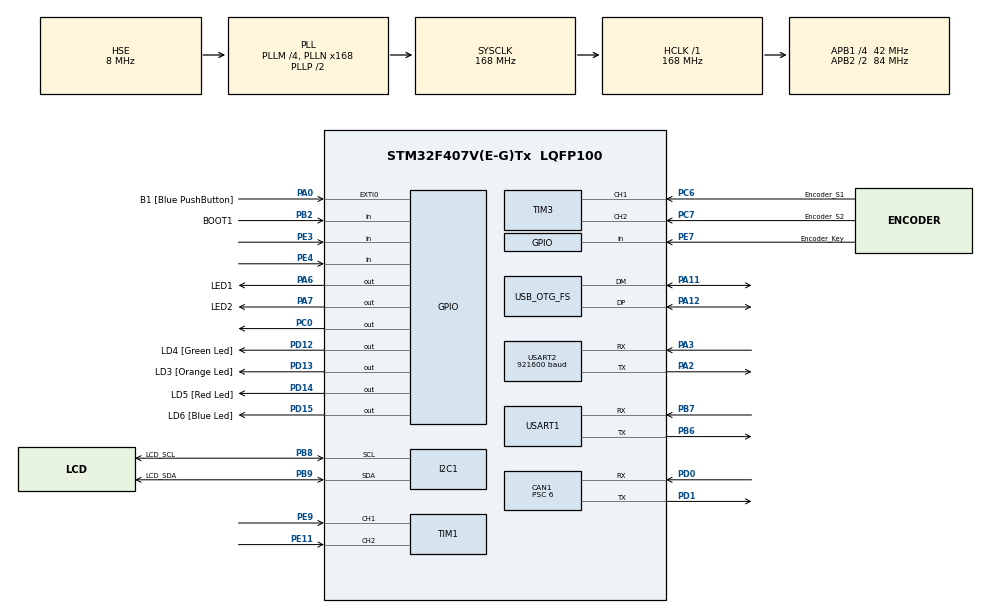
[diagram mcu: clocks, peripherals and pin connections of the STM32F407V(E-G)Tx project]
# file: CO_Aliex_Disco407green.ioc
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ADC1.Channel-0\#ChannelRegularConversion=ADC_CHANNEL_TEMPSENSOR
ADC1.ExternalTrigConv=ADC_EXTERNALTRIGCONV_T8_TRGO
ADC1.ExternalTrigConvEdge=ADC_EXTERNALTRIGCONVEDGE_FALLING
ADC1.NbrOfConversionFlag=1
ADC1.Rank-0\#ChannelRegularConversion=1
ADC1.SamplingTime-0\#ChannelRegularConversion=ADC_SAMPLETIME_3CYCLES
ADC1.master=1
CAN1.BS1=CAN_BS1_11TQ
CAN1.BS2=CAN_BS2_2TQ
CAN1.CalculateBaudRate=500000
CAN1.CalculateTimeBit=2000
CAN1.CalculateTimeQuantum=142.85714285714286
CAN1.Prescaler=6
Dma.ADC1.5.Direction=DMA_PERIPH_TO_MEMORY
Dma.ADC1.5.FIFOMode=DMA_FIFOMODE_DISABLE
Dma.ADC1.5.Instance=DMA2_Stream4
Dma.ADC1.5.MemDataAlignment=DMA_MDATAALIGN_HALFWORD
Dma.ADC1.5.MemInc=DMA_MINC_ENABLE
Dma.ADC1.5.Mode=DMA_NORMAL
Dma.ADC1.5.PeriphDataAlignment=DMA_PDATAALIGN_HALFWORD
Dma.ADC1.5.PeriphInc=DMA_PINC_DISABLE
Dma.ADC1.5.Priority=DMA_PRIORITY_LOW
Dma.MEMTOMEM.2.Direction=DMA_MEMORY_TO_MEMORY
Dma.MEMTOMEM.2.FIFOMode=DMA_FIFOMODE_ENABLE
Dma.MEMTOMEM.2.FIFOThreshold=DMA_FIFO_THRESHOLD_FULL
Dma.MEMTOMEM.2.Instance=DMA2_Stream0
Dma.MEMTOMEM.2.MemBurst=DMA_MBURST_SINGLE
Dma.MEMTOMEM.2.MemDataAlignment=DMA_MDATAALIGN_BYTE
Dma.MEMTOMEM.2.MemInc=DMA_MINC_ENABLE
Dma.MEMTOMEM.2.Mode=DMA_NORMAL
Dma.MEMTOMEM.2.PeriphBurst=DMA_PBURST_SINGLE
Dma.MEMTOMEM.2.PeriphDataAlignment=DMA_PDATAALIGN_BYTE
Dma.MEMTOMEM.2.PeriphInc=DMA_PINC_ENABLE
Dma.MEMTOMEM.2.Priority=DMA_PRIORITY_VERY_HIGH
Dma.MEMTOMEM.3.Direction=DMA_MEMORY_TO_MEMORY
Dma.MEMTOMEM.3.FIFOMode=DMA_FIFOMODE_ENABLE
Dma.MEMTOMEM.3.FIFOThreshold=DMA_FIFO_THRESHOLD_FULL
Dma.MEMTOMEM.3.Instance=DMA2_Stream5
Dma.MEMTOMEM.3.MemBurst=DMA_MBURST_SINGLE
Dma.MEMTOMEM.3.MemDataAlignment=DMA_MDATAALIGN_HALFWORD
Dma.MEMTOMEM.3.MemInc=DMA_MINC_ENABLE
Dma.MEMTOMEM.3.Mode=DMA_NORMAL
Dma.MEMTOMEM.3.PeriphBurst=DMA_PBURST_SINGLE
Dma.MEMTOMEM.3.PeriphDataAlignment=DMA_PDATAALIGN_HALFWORD
Dma.MEMTOMEM.3.PeriphInc=DMA_PINC_ENABLE
Dma.MEMTOMEM.3.Priority=DMA_PRIORITY_HIGH
Dma.MEMTOMEM.4.Direction=DMA_MEMORY_TO_MEMORY
Dma.MEMTOMEM.4.FIFOMode=DMA_FIFOMODE_ENABLE
Dma.MEMTOMEM.4.FIFOThreshold=DMA_FIFO_THRESHOLD_FULL
Dma.MEMTOMEM.4.Instance=DMA2_Stream3
Dma.MEMTOMEM.4.MemBurst=DMA_MBURST_SINGLE
Dma.MEMTOMEM.4.MemDataAlignment=DMA_MDATAALIGN_WORD
Dma.MEMTOMEM.4.MemInc=DMA_MINC_ENABLE
Dma.MEMTOMEM.4.Mode=DMA_NORMAL
Dma.MEMTOMEM.4.PeriphBurst=DMA_PBURST_SINGLE
Dma.MEMTOMEM.4.PeriphDataAlignment=DMA_PDATAALIGN_WORD
Dma.MEMTOMEM.4.PeriphInc=DMA_PINC_ENABLE
Dma.MEMTOMEM.4.Priority=DMA_PRIORITY_MEDIUM
Dma.Request0=USART2_TX
Dma.Request1=USART2_RX
Dma.Request2=MEMTOMEM
Dma.Request3=MEMTOMEM
Dma.Request4=MEMTOMEM
Dma.Request5=ADC1
Dma.Request6=TIM8_UP
Dma.Request7=TIM3_CH4/UP
Dma.TIM3_CH4/UP.7.Direction=DMA_PERIPH_TO_MEMORY
Dma.TIM3_CH4/UP.7.FIFOMode=DMA_FIFOMODE_DISABLE
Dma.TIM3_CH4/UP.7.Instance=DMA1_Stream2
Dma.TIM3_CH4/UP.7.MemDataAlignment=DMA_MDATAALIGN_HALFWORD
Dma.TIM3_CH4/UP.7.MemInc=DMA_MINC_ENABLE
Dma.TIM3_CH4/UP.7.Mode=DMA_NORMAL
Dma.TIM3_CH4/UP.7.PeriphDataAlignment=DMA_PDATAALIGN_HALFWORD
Dma.TIM3_CH4/UP.7.PeriphInc=DMA_PINC_DISABLE
Dma.TIM3_CH4/UP.7.Priority=DMA_PRIORITY_LOW
Dma.TIM8_UP.6.Direction=DMA_PERIPH_TO_MEMORY
Dma.TIM8_UP.6.FIFOMode=DMA_FIFOMODE_DISABLE
Dma.TIM8_UP.6.Instance=DMA2_Stream1
Dma.TIM8_UP.6.MemDataAlignment=DMA_MDATAALIGN_HALFWORD
Dma.TIM8_UP.6.MemInc=DMA_MINC_ENABLE
Dma.TIM8_UP.6.Mode=DMA_NORMAL
Dma.TIM8_UP.6.PeriphDataAlignment=DMA_PDATAALIGN_HALFWORD
Dma.TIM8_UP.6.PeriphInc=DMA_PINC_DISABLE
Dma.TIM8_UP.6.Priority=DMA_PRIORITY_LOW
Dma.USART2_RX.1.Direction=DMA_PERIPH_TO_MEMORY
Dma.USART2_RX.1.FIFOMode=DMA_FIFOMODE_DISABLE
Dma.USART2_RX.1.Instance=DMA1_Stream5
Dma.USART2_RX.1.MemDataAlignment=DMA_MDATAALIGN_BYTE
Dma.USART2_RX.1.MemInc=DMA_MINC_ENABLE
Dma.USART2_RX.1.Mode=DMA_NORMAL
Dma.USART2_RX.1.PeriphDataAlignment=DMA_PDATAALIGN_BYTE
Dma.USART2_RX.1.PeriphInc=DMA_PINC_DISABLE
Dma.USART2_RX.1.Priority=DMA_PRIORITY_LOW
Dma.USART2_TX.0.Direction=DMA_MEMORY_TO_PERIPH
Dma.USART2_TX.0.FIFOMode=DMA_FIFOMODE_DISABLE
Dma.USART2_TX.0.Instance=DMA1_Stream6
Dma.USART2_TX.0.MemDataAlignment=DMA_MDATAALIGN_BYTE
Dma.USART2_TX.0.MemInc=DMA_MINC_ENABLE
Dma.USART2_TX.0.Mode=DMA_NORMAL
Dma.USART2_TX.0.PeriphDataAlignment=DMA_PDATAALIGN_BYTE
Dma.USART2_TX.0.PeriphInc=DMA_PINC_DISABLE
Dma.USART2_TX.0.Priority=DMA_PRIORITY_LOW
I2C1.I2C_Mode=I2C_Fast
Mcu.Family=STM32F4
Mcu.Name=STM32F407V(E-G)Tx
Mcu.Package=LQFP100
Mcu.UserConstants=LCD_I2C,$$_I2C1_IP_HANDLE_$$;Tim_3_Encoder,$$_TIM3_IP_HANDLE_$$;Tim_1_Encoder,$$_TIM1_IP_HANDLE_$$
NVIC.ADC_IRQn=true\:0\:0\:false\:false\:true\:true\:true\:true
NVIC.DMA1_Stream2_IRQn=true\:0\:0\:false\:false\:true\:false\:true\:true
NVIC.DMA1_Stream5_IRQn=true\:0\:0\:false\:false\:true\:false\:true\:true
NVIC.DMA1_Stream6_IRQn=true\:0\:0\:false\:false\:true\:false\:true\:true
NVIC.DMA2_Stream0_IRQn=true\:0\:0\:false\:false\:true\:false\:true\:true
NVIC.DMA2_Stream1_IRQn=true\:0\:0\:false\:false\:true\:false\:true\:true
NVIC.DMA2_Stream4_IRQn=true\:0\:0\:false\:false\:true\:false\:true\:true
NVIC.I2C1_ER_IRQn=true\:0\:0\:false\:false\:true\:true\:true\:true
NVIC.I2C1_EV_IRQn=true\:0\:0\:false\:false\:true\:true\:true\:true
NVIC.OTG_FS_IRQn=true\:0\:0\:false\:false\:true\:false\:true\:true
NVIC.PriorityGroup=NVIC_PRIORITYGROUP_0
NVIC.RTC_Alarm_IRQn=true\:0\:0\:false\:false\:true\:true\:true\:true
NVIC.TIM3_IRQn=true\:0\:0\:false\:false\:true\:true\:true\:true
NVIC.TIM4_IRQn=true\:0\:0\:false\:false\:true\:true\:true\:true
NVIC.TIM6_DAC_IRQn=true\:0\:0\:false\:false\:true\:true\:true\:true
NVIC.TIM8_UP_TIM13_IRQn=true\:0\:0\:false\:false\:true\:true\:true\:true
NVIC.USART2_IRQn=true\:0\:0\:false\:false\:true\:true\:true\:true
PA0-WKUP.GPIO_Label=B1 [Blue PushButton]
PA0-WKUP.GPIO_ModeDefaultEXTI=GPIO_MODE_IT_FALLING
PA0-WKUP.GPIO_PuPd=GPIO_PULLUP
PA0-WKUP.Signal=GPXTI0
PA11.Mode=Device_Only
PA11.Signal=USB_OTG_FS_DM
PA12.Mode=Device_Only
PA12.Signal=USB_OTG_FS_DP
PA13.GPIO_Label=SWDIO
PA13.Mode=Serial_Wire
PA13.Signal=SYS_JTMS-SWDIO
PA14.GPIO_Label=SWCLK
PA14.Mode=Serial_Wire
PA14.Signal=SYS_JTCK-SWCLK
PA2.Mode=Asynchronous
PA2.Signal=USART2_TX
PA3.Mode=Asynchronous
PA3.Signal=USART2_RX
PA6.GPIO_Label=LED1
PA6.GPIO_PuPd=GPIO_PULLUP
PA6.PinState=GPIO_PIN_SET
PA6.Signal=GPIO_Output
PA7.GPIO_Label=LED2
PA7.GPIO_PuPd=GPIO_PULLUP
PA7.PinState=GPIO_PIN_SET
PA7.Signal=GPIO_Output
PB2.GPIO_Label=BOOT1
PB2.GPIO_Mode=GPIO_MODE_INPUT
PB2.GPIO_PuPd=GPIO_NOPULL
PB2.Signal=GPIO_Input
PB3.GPIO_Label=SWO
PB3.Signal=SYS_JTDO-SWO
PB6.Mode=Asynchronous
PB6.Signal=USART1_TX
PB7.Mode=Asynchronous
PB7.Signal=USART1_RX
PB8.GPIO_Label=LCD_SCL
PB8.Mode=I2C
PB8.Signal=I2C1_SCL
PB9.GPIO_Label=LCD_SDA
PB9.Mode=I2C
PB9.Signal=I2C1_SDA
PC0.PinState=GPIO_PIN_SET
PC0.Signal=GPIO_Output
PC14-OSC32_IN.GPIO_Label=PC14-OSC32_IN
PC14-OSC32_IN.Mode=LSE-External-Oscillator
PC14-OSC32_IN.Signal=RCC_OSC32_IN
PC15-OSC32_OUT.GPIO_Label=PC15-OSC32_OUT
PC15-OSC32_OUT.Mode=LSE-External-Oscillator
PC15-OSC32_OUT.Signal=RCC_OSC32_OUT
PC6.GPIO_Label=Encoder_S1
PC6.GPIO_PuPd=GPIO_PULLUP
PC6.Signal=S_TIM3_CH1
PC7.GPIO_Label=Encoder_S2
PC7.GPIO_PuPd=GPIO_PULLUP
PC7.Signal=S_TIM3_CH2
PD0.Mode=CAN_Activate
PD0.Signal=CAN1_RX
PD1.Mode=CAN_Activate
PD1.Signal=CAN1_TX
PD12.GPIO_Label=LD4 [Green Led]
PD12.GPIO_PuPd=GPIO_NOPULL
PD12.GPIO_Speed=GPIO_SPEED_FREQ_LOW
PD12.Signal=GPIO_Output
PD13.GPIO_Label=LD3 [Orange Led]
PD13.GPIO_PuPd=GPIO_NOPULL
PD13.GPIO_Speed=GPIO_SPEED_FREQ_LOW
PD13.Signal=GPIO_Output
PD14.GPIO_Label=LD5 [Red Led]
PD14.GPIO_PuPd=GPIO_NOPULL
PD14.GPIO_Speed=GPIO_SPEED_FREQ_LOW
PD14.Signal=GPIO_Output
PD15.GPIO_Label=LD6 [Blue Led]
PD15.GPIO_PuPd=GPIO_NOPULL
PD15.GPIO_Speed=GPIO_SPEED_FREQ_LOW
PD15.Signal=GPIO_Output
PE11.GPIO_PuPd=GPIO_PULLUP
PE11.GPIO_Speed=GPIO_SPEED_FREQ_LOW
PE11.Signal=S_TIM1_CH2
PE3.GPIO_PuPd=GPIO_PULLUP
PE3.Signal=GPIO_Input
PE4.GPIO_PuPd=GPIO_PULLUP
PE4.Signal=GPIO_Input
PE7.GPIO_Label=Encoder_Key
PE7.GPIO_PuPd=GPIO_PULLUP
PE7.Signal=GPIO_Input
PE9.GPIO_PuPd=GPIO_PULLUP
PE9.GPIO_Speed=GPIO_SPEED_FREQ_LOW
PE9.Signal=S_TIM1_CH1
PH0-OSC_IN.GPIO_Label=PH0-OSC_IN
PH0-OSC_IN.Mode=HSE-External-Oscillator
PH0-OSC_IN.Signal=RCC_OSC_IN
PH1-OSC_OUT.GPIO_Label=PH1-OSC_OUT
PH1-OSC_OUT.Mode=HSE-External-Oscillator
PH1-OSC_OUT.Signal=RCC_OSC_OUT
ProjectManager.HeapSize=0x800
ProjectManager.StackSize=0x800
ProjectManager.TargetToolchain=STM32CubeIDE
RCC.48MHZClocksFreq_Value=48000000
RCC.AHBFreq_Value=168000000
RCC.APB1CLKDivider=RCC_HCLK_DIV4
RCC.APB1Freq_Value=42000000
RCC.APB1TimFreq_Value=84000000
RCC.APB2CLKDivider=RCC_HCLK_DIV2
RCC.APB2Freq_Value=84000000
RCC.APB2TimFreq_Value=168000000
RCC.CortexFreq_Value=168000000
RCC.HCLKFreq_Value=168000000
RCC.HSE_VALUE=8000000
RCC.HSI_VALUE=16000000
RCC.PLLI2SN=50
RCC.PLLM=4
RCC.PLLN=168
RCC.PLLQ=7
RCC.RCC_RTC_Clock_Source=RCC_RTCCLKSOURCE_LSE
RCC.RCC_RTC_Clock_SourceVirtual=RCC_RTCCLKSOURCE_HSE_DIV25
RCC.RCC_RTC_Clock_Source_FROM_HSE=RCC_RTCCLKSOURCE_HSE_DIV25
RCC.SYSCLKFreq_VALUE=168000000
RCC.SYSCLKSource=RCC_SYSCLKSOURCE_PLLCLK
RCC.VCOOutputFreq_Value=336000000
RTC.Alarm=RTC_ALARM_A
RTC.Alarm_B=RTC_ALARM_B
RTC.Date=21
RTC.Format=RTC_FORMAT_BIN
RTC.Hours=17
RTC.Minutes=30
RTC.Month=RTC_MONTH_JANUARY
RTC.WeekDay=RTC_WEEKDAY_THURSDAY
RTC.Year=25
SH.S_TIM1_CH1.0=TIM1_CH1,Encoder_Interface
SH.S_TIM1_CH2.0=TIM1_CH2,Encoder_Interface
SH.S_TIM3_CH1.0=TIM3_CH1,Encoder_Interface
SH.S_TIM3_CH2.0=TIM3_CH2,Encoder_Interface
TIM14.Period=999
TIM14.Prescaler=167
TIM4.Period=999
TIM4.Prescaler=83
TIM4.TIM_MasterOutputTrigger=TIM_TRGO_UPDATE
TIM5.Channel-Output\ Compare2\ CH2=TIM_CHANNEL_2
TIM6.Period=9999
TIM6.Prescaler=167
TIM6.TIM_MasterOutputTrigger=TIM_TRGO_UPDATE
TIM8.Period=39999
TIM8.Prescaler=41
TIM8.TIM_MasterOutputTrigger=TIM_TRGO_UPDATE
USART1.VirtualMode=VM_ASYNC
USART2.BaudRate=921600
USART2.StopBits=STOPBITS_2
USART2.VirtualMode=VM_ASYNC
USB_DEVICE.APP_RX_DATA_SIZE-CDC_FS=2048
USB_DEVICE.CLASS_NAME_FS=CDC
USB_DEVICE.VirtualMode-CDC_FS=Cdc
USB_DEVICE.VirtualModeFS=Cdc_FS
USB_OTG_FS.VirtualMode=Device_Only
VP_ADC1_TempSens_Input.Mode=IN-TempSens
VP_ADC1_Vbat_Input.Mode=IN-Vbat
VP_ADC1_Vref_Input.Mode=IN-Vrefint
VP_RTC_VS_RTC_Activate.Mode=RTC_Enabled
VP_RTC_VS_RTC_Alarm_A_Intern.Mode=Alarm A
VP_RTC_VS_RTC_Alarm_B_Intern.Mode=Alarm B
VP_RTC_VS_RTC_Calendar.Mode=RTC_Calendar
VP_TIM14_VS_ClockSourceINT.Mode=Enable_Timer
VP_TIM2_VS_ClockSourceINT.Mode=Internal
VP_TIM4_VS_ClockSourceINT.Mode=Internal
VP_TIM5_VS_ClockSourceINT.Mode=Internal
VP_TIM6_VS_ClockSourceINT.Mode=Enable_Timer
VP_TIM8_VS_ClockSourceINT.Mode=Internal
VP_USB_DEVICE_VS_USB_DEVICE_CDC_FS.Mode=CDC_FS
board=STM32F407G-DISC1

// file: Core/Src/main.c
/* USER CODE BEGIN Header */
/**
  ******************************************************************************
  * @file           : main.c
  * @brief          : Main program body
  ******************************************************************************
  * @attention
  *
  * Copyright (c) 2024 STMicroelectronics.
  * All rights reserved.
  *
  * This software is licensed under terms that can be found in the LICENSE file
  * in the root directory of this software component.
  * If no LICENSE file comes with this software, it is provided AS-IS.
  *
  *
  *			Aliexpress_Disco407green__EvolutionBoard
  *
  *			NodeID = 0x3A
  *
  *
  ******************************************************************************
  */
/* USER CODE END Header */
#include "main.h"
#include "adc.h"
#include "can.h"
#include "dma.h"
#include "i2c.h"
#include "rtc.h"
#include "tim.h"
#include "usart.h"
#include "usb_device.h"
#include "gpio.h"

/* USER CODE BEGIN Includes */
#include "CO_app_STM32.h"
#include "301/CO_SDOclient.h"
#include "CANopen.h"
#include "OD.h"
#include "CO_PDO.h"

#include "format_out.h"
#include "SDO_utils.h"
#include "lcd.h"
#include "Encoder.h"

/* USER CODE END Includes */

/* USER CODE BEGIN PV */

RTC_DateTypeDef DateToUpdate;//  = {02, 01, 21, 25};  //; ={0,0,0};   //21jan2025
RTC_TimeTypeDef sTime;// = {19, 24, 0,0,0,0,0};; // ={0,0,0};      ///19h16min
//					    0,//uint8_t Hours; Max_Data=12 if the RTC_HourFormat_12; Max_Data=23 if the RTC_HourFormat_24
//						0,//uint8_t Minutes; Max_Data = 59
//						0,//uint8_t Seconds; Max_Data = 59 */
//						0,//uint8_t TimeFormat;Specifies the RTC AM/PM Time.
//						0,//uint32_t SecondFraction;parameter corresponds to a time unit range between [0-1] Second with [1 Sec / SecondFraction +1] granularity
//						0,//uint32_t DayLightSaving;  This interface is deprecated.
//						0//uint32_t StoreOperation;

uint8_t Tx_Array[16]={0x51,0x62,0x73,0x84,0x55,0x46,0x87,0x18,0x29,0x10,0x11,0x12,0x13,0x14,0x15,0x33};
uint8_t Rx_Array[16]={0};
uint32_t Array_32u[16]={0};
uint8_t Array_8u[16]={0x54,0x34,0x21,0xea,0xf3,0x7a,0xd4,0x46};
char Message_to_Terminal[128]={};
char Message_to_Terminal_1[128]={};
char Message_to_Terminal_2[128]={};
char Message_to_Terminal_3[128]={};
uint8_t Array_from_Terminal[128]={0};
uint8_t Length_of_Message;
uint8_t Length_of_Ext_Var=0;
uint8_t Local_Count=0;
uint32_t Duration_of_the_CO_process;
uint64_t Count_of_while1=0;
float ChipTemperature;

CANopenNodeSTM32    canOpenNodeSTM32;
CO_SDO_abortCode_t  Code_return_SDO;
CAN_TxHeaderTypeDef Tx_Header;
uint32_t            TxMailbox;
uint32_t            tmp32u_1   = 0x1e1f1a1b;
uint32_t            tmp32u_0   = 0x0e0f0a0b;
uint64_t            tmp64u_0   = 0x0e1f1a1b56789a;
uint64_t            tmp64u_1   = 0x0e1f1a1b56789a;
uint32_t            Ticks;
uint32_t            Ticks_1;
uint32_t            Ticks_2;

char String_H[]={"String_for_Test_UART_"};
char String_L[]={"String_for_Test_UART_"};
char buff[16]={8,8,8,8,8,8,8,8,8,8,8,8,8,8,8,8};
//const	char XPOMOC[] = "XPOMOC_CANOpen";
//const	char WC[] = "LSS_Master";
char String_LCD[32];
char String_2_UART[128];
uint16_t L_str;
int16_t currCounter=0 ;
int32_t prevCounter =0;
CO_ReturnError_t Err_return;

uint8_t Menu_step=0;
const uint16_t Datum[64]={0,0,
						  0x30,0x31, 0x30,0x32, 0x30,0x33, 0x30,0x34, 0x30,0x35, 0x30,0x36, 0x30,0x37, 0x30,0x38, 0x30,0x39, 0x31,0x30,
					      0x31,0x31, 0x31,0x32, 0x31,0x33, 0x31,0x34, 0x31,0x35, 0x31,0x36, 0x31,0x37, 0x31,0x38, 0x31,0x39, 0x32,0x30,
					      0x32,0x31, 0x32,0x32, 0x32,0x33, 0x32,0x34, 0x32,0x35, 0x32,0x36, 0x32,0x37, 0x32,0x38, 0x32,0x39, 0x33,0x30,
					      0x33,0x31
					     };

uint8_t Node_ID_Read=0xff;
uint32_t Data_u32;
/* USER CODE END PV */

void SystemClock_Config(void);
/* USER CODE BEGIN PFP */
void CAN_interface_Test(void);
void UART_interface_Test(void);
void Board_Name_to_Terminal(void);
void CO_Init_Return_State(uint16_t Returned_Code);
void SDO_abortCode_ASCII_to_Terminal(void);
CO_SDO_abortCode_t SDO_Read_Write_Read(void);
void TPDO_send(uint32_t Period_ms);

void SDO_Test();

int16_t Encoder_to_LCD(void);
Encoder_Status encoderStatus;
/* USER CODE END PFP */

/* USER CODE BEGIN 0 */
/* Timer interrupt function executes every 1 ms */
void
HAL_TIM_PeriodElapsedCallback(TIM_HandleTypeDef* htim)
{

    if (htim == canopenNodeSTM32->timerHandle)
    		{
    		canopen_app_interrupt();
    		}

}

/* USER CODE END 0 */

int main(void)
{

  /* MCU Configuration--------------------------------------------------------*/

  /* Reset of all peripherals, Initializes the Flash interface and the Systick. */
  HAL_Init();

  /* Configure the system clock */
  SystemClock_Config();

  /* Initialize all configured peripherals */
  MX_GPIO_Init();
  MX_DMA_Init();
  MX_TIM14_Init();
  MX_USART1_UART_Init();
  MX_USB_DEVICE_Init();
  MX_USART2_UART_Init();
  MX_TIM4_Init();
  MX_CAN1_Init();
  MX_RTC_Init();
  MX_TIM6_Init();
  MX_ADC1_Init();
  MX_TIM8_Init();
  MX_I2C1_Init();
  MX_TIM3_Init();
  MX_TIM2_Init();
  MX_TIM5_Init();
  MX_TIM1_Init();
  /* USER CODE BEGIN 2 */

  //	HAL_RTC_SetTime(&hrtc, &sTime,        RTC_FORMAT_BIN);
  //	HAL_RTC_SetDate(&hrtc, &DateToUpdate, RTC_FORMAT_BIN);
  HAL_RTC_GetDate(&hrtc, &DateToUpdate, RTC_FORMAT_BIN);
  HAL_RTC_GetTime(&hrtc, &sTime,        RTC_FORMAT_BIN);

  Encoder_Config();  // configure the encoders timer
  Encoder_Init();    // start the encoders timer
  LCD_ini();
  // Logo_to_1602LCD();
  Datum_to_1602LCD();
  //GPIO_Blink_Test(GPIOA, GPIO_PIN_7|GPIO_PIN_6, 25, 33); 						// for_STM32F4XX_Ali_pcb
   GPIO_Blink_Test(GPIOD, GPIO_PIN_12|GPIO_PIN_13|GPIO_PIN_14|GPIO_PIN_15, 25, 33);// blink_at_Discovery_EVB
  //UART_interface_Test(); //while(1){;}
  //CAN_interface_Test();
  HAL_TIM_Base_Start(&htim8);
  HAL_TIM_Base_Start_IT(&htim4);
  HAL_UART_Receive_DMA(&huart2, Array_from_Terminal, sizeof Array_from_Terminal );
  //HAL_Delay(1500);
  Board_Name_to_Terminal();
  OD_PERSIST_COMM.x1018_identity.serialNumber = HAL_GetUIDw0();
  Message_2_UART_u32(
		  	  	  	  "\n\r OD_PERSIST_COMM.x1018_identity.serialNumber",
					  HAL_GetUIDw0()
					  );

    /* CANHandle : Pass in the CAN Handle to this function and it wil be used for all CAN Communications.
     *             It can be FDCan or CAN and CANOpenSTM32 Driver will take of care of handling that
     *
     * HWInitFunction : Pass in the function that initialize the CAN peripheral, usually MX_CAN_Init
     *
     * timerHandle : Pass in the timer that is going to be used for generating 1ms interrupt for tmrThread function,
     *               please note that CANOpenSTM32 Library will override HAL_TIM_PeriodElapsedCallback function,
     *               if you also need this function in your codes, please take required steps
     *
     * desiredNodeID : This is the Node ID that you ask the CANOpen stack to assign to your device, although it might not always
     *                 be the final NodeID, after calling canopen_app_init()
     *                 you should check ActiveNodeID of CANopenNodeSTM32 structure for assigned Node ID.
     *
     * baudrate: This is the baudrate you've set in your CubeMX Configuration
     *
     */
   canOpenNodeSTM32.CANHandle = &hcan1;
   canOpenNodeSTM32.HWInitFunction = MX_CAN1_Init;
   canOpenNodeSTM32.timerHandle = &htim4;
   canOpenNodeSTM32.desiredNodeID = CO_Aliex_Disco407green;//	0x3A
   //canOpenNodeSTM32.desiredNodeID = Node_Unconfigured;
   canOpenNodeSTM32.baudrate = 125*4;
   uint16_t Ret_value = canopen_app_init(&canOpenNodeSTM32);
   CO_Init_Return_State(Ret_value );

   	 //SDO_Read_Write_Read();

  /* USER CODE END 2 */

  /* Infinite loop */
  /* USER CODE BEGIN WHILE */

HAL_Delay(1);
canopen_app_process();
HAL_GPIO_WritePin(GPIOD, GPIO_PIN_12, GPIO_PIN_RESET);//Green
OD_PERSIST_COMM.x6000_ALiex_Disco_VAR32_6000=0;

#if Make_Read_SDO
#endif//Make_Read_SDO
 Local_Count=0;
Ticks = HAL_GetTick();
Ticks_2 = HAL_GetTick();

DWT->CTRL |= 1 ; // Enable_the_Counter_of_Core_circles

//**********************************************************************************************
Ticks_2=HAL_GetTick();
do
{
HAL_GPIO_WritePin(GPIOD, GPIO_PIN_12, !canOpenNodeSTM32.outStatusLEDGreen);
HAL_GPIO_WritePin(GPIOD, GPIO_PIN_14, !canOpenNodeSTM32.outStatusLEDRed  );
canopen_app_process();
}while (HAL_GetTick() - Ticks_2<500);

#if 1
uint32_t Delta_T[4]={0};/////Measurement_of_duration_canopen_app_process();
#endif

//**********************************************************************************************
Local_Count=0;
Ticks_2=HAL_GetTick();
 while (1)		/// 	while (HAL_GetTick() - Ticks_2<4123) //   	while (HAL_GetTick() - Ticks_2<5123)	///
	{
			switch (Local_Count)
				{
				case 0:
					OD_PERSIST_COMM.x6000_ALiex_Disco_VAR32_6000++;
					OD_PERSIST_COMM.x6001_ALiex_Disco_VAR32_6001++;
					CO_TPDOsendRequest(&canOpenNodeSTM32.canOpenStack->TPDO[0] );
//																			//HAL_GPIO_WritePin(GPIOD, GPIO_PIN_13,GPIO_PIN_SET );
//					DWT->CYCCNT = 0; // reset the counter
//					canopen_app_process();
//					Delta_T[0]= DWT->CYCCNT;//// 2581circles * 6ns = 15.5ms// Delta_T[0] = 0x00000A15
//																			//HAL_GPIO_WritePin(GPIOD, GPIO_PIN_13,GPIO_PIN_RESET );
					Local_Count=1;
					break;

				case 1:
					OD_PERSIST_COMM.x6002_ALiex_Disco_VAR32_6002++;
 					OD_PERSIST_COMM.x6003_ALiex_Disco_VAR32_6003++;
					CO_TPDOsendRequest(&canOpenNodeSTM32.canOpenStack->TPDO[1] );

//																			//HAL_GPIO_WritePin(GPIOD, GPIO_PIN_13,GPIO_PIN_SET );
//					DWT->CYCCNT = 0; // reset the counter
//					canopen_app_process();
//					Delta_T[1]= DWT->CYCCNT;//// 2571 circles * 6ns = 15.5ms ///Delta_T[2] = 0x00000A0B
//																			//HAL_GPIO_WritePin(GPIOD, GPIO_PIN_13,GPIO_PIN_RESET );
					Local_Count=2;
					break;

				case 2:
 					OD_PERSIST_COMM.x6004_ALiex_Disco_VAR32_6004++;
 					OD_PERSIST_COMM.x6005_ALiex_Disco_VAR32_6005++;
					CO_TPDOsendRequest(&canOpenNodeSTM32.canOpenStack->TPDO[2] );

																			//HAL_GPIO_WritePin(GPIOD, GPIO_PIN_13,GPIO_PIN_SET );
//					DWT->CYCCNT = 0; // reset the counter
//					canopen_app_process();
//					Delta_T[2]= DWT->CYCCNT;//// 2571 circles * 6ns = 15.5ms ///Delta_T[2] = 0x00000A0B 16295 ns
//																			//HAL_GPIO_WritePin(GPIOD, GPIO_PIN_13,GPIO_PIN_RESET );
					Local_Count=3;
					break;

				case 3:
 					OD_PERSIST_COMM.x6006_ALiex_Disco_VAR32_6006++;
 					OD_PERSIST_COMM.x6007_ALiex_Disco_VAR32_6007++;
					CO_TPDOsendRequest(&canOpenNodeSTM32.canOpenStack->TPDO[3] );

//																			//HAL_GPIO_WritePin(GPIOD, GPIO_PIN_13,GPIO_PIN_SET );
//					DWT->CYCCNT = 0; // reset the counter
//					canopen_app_process();
//					Delta_T[3]= DWT->CYCCNT;//// 2573circles * 6ns = 15.5ms// Delta_T[3] = 0x00000A0D 16295 ns
//																			//HAL_GPIO_WritePin(GPIOD, GPIO_PIN_13,GPIO_PIN_RESET );
					Local_Count=0;
					break;

				default:
					Local_Count=0;
					canopen_app_process();
					break;
		}///switch (Local_Count)

		HAL_GPIO_WritePin(GPIOD, GPIO_PIN_12, !canOpenNodeSTM32.outStatusLEDGreen);
		HAL_GPIO_WritePin(GPIOD, GPIO_PIN_14, !canOpenNodeSTM32.outStatusLEDRed  );
		// HAL_GPIO_WritePin(GPIOA, GPIO_PIN_6, canOpenNodeSTM32.outStatusLEDGreen);
		// HAL_GPIO_WritePin(GPIOA, GPIO_PIN_7, canOpenNodeSTM32.outStatusLEDRed  );//yellow

//		HAL_GPIO_TogglePin(GPIOD, GPIO_PIN_13 );
//		DWT->CYCCNT = 0; // reset the counter
		canopen_app_process();
//		Duration_of_the_CO_process= DWT->CYCCNT;//// 2575circles * 6.33ns = 18ms
		HAL_Delay(4);
//		DWT->CYCCNT = 0; // reset the counter
//		while( (DWT->CYCCNT / 168) < 2999 );

		Encoder_to_LCD();
		RTC_update_and_Terminal(1999);

	}///while (HAL_GetTick() - Ticks<4123)

#if 1
///Measurement_of_duration_canopen_app_process_Results
uint16_t LLL = sprintf(
					Message_to_Terminal,
					"\n\r\n\r Duration_of_the_CO_process*6nc = %d\n\r",
					(uint16_t)Duration_of_the_CO_process*6
					);

 LLL = LLL + sprintf(
					Message_to_Terminal+LLL,
					"\n\r Delta_T[0] = 0x%04X%04X -> %d ns\n\r",
					(uint16_t)(Delta_T[0] >> 16 ),
					(uint16_t)(Delta_T[0] & 0x0FFFF ),
					(uint16_t)(((float)Delta_T[0]*6.3333) )
					);

 LLL = LLL + sprintf(
					Message_to_Terminal+LLL,
					"\n\r Delta_T[0] = 0x%04X%04X -> %d ns\n\r",
					(uint16_t)(Delta_T[1] >> 16 ),
					(uint16_t)(Delta_T[1] & 0x0FFFF ),
					(uint16_t)(((float)Delta_T[1]*6.3333) )
					);

 LLL = LLL + sprintf(
					Message_to_Terminal+LLL,
					"\n\r Delta_T[0] = 0x%04X%04X -> %d ns\n\r",
					(uint16_t)(Delta_T[2] >> 16 ),
					(uint16_t)(Delta_T[2] & 0x0FFFF ),
					(uint16_t)(((float)Delta_T[2]*6.3333) )
					);

 LLL = LLL + sprintf(
					Message_to_Terminal+LLL,
					"\n\r Delta_T[0] = 0x%04X%04X -> %d ns\n\r\n\r\n\r\n\r\n\r\n\r\n\r",
					(uint16_t)(Delta_T[3] >> 16 ),
					(uint16_t)(Delta_T[3] & 0x0FFFF ),
					(uint16_t)(((float)Delta_T[3]*6.3333) )
					);

while(TerminalInterface.gState != HAL_UART_STATE_READY){;}
HAL_UART_Transmit_IT( &TerminalInterface, (uint8_t*)(Message_to_Terminal), LLL);
//while(TerminalInterface.gState != HAL_UART_STATE_READY){;}
#endif///Measurement_of_duration_canopen_app_process();

//**********************************************************************************************

while (2)
{
Encoder_to_LCD();
RTC_update_and_Terminal(1999);
HAL_GPIO_WritePin(GPIOD, GPIO_PIN_12, !canOpenNodeSTM32.outStatusLEDGreen);
HAL_GPIO_WritePin(GPIOD, GPIO_PIN_14, !canOpenNodeSTM32.outStatusLEDRed  );
canopen_app_process();

    /* USER CODE END WHILE */

}
}

void SystemClock_Config(void)
{
  RCC_OscInitTypeDef RCC_OscInitStruct = {0};
  RCC_ClkInitTypeDef RCC_ClkInitStruct = {0};

  /** Configure the main internal regulator output voltage
  */
  __HAL_RCC_PWR_CLK_ENABLE();
  __HAL_PWR_VOLTAGESCALING_CONFIG(PWR_REGULATOR_VOLTAGE_SCALE1);

  /** Initializes the RCC Oscillators according to the specified parameters
  * in the RCC_OscInitTypeDef structure.
  */
  RCC_OscInitStruct.OscillatorType = RCC_OSCILLATORTYPE_HSE|RCC_OSCILLATORTYPE_LSE;
  RCC_OscInitStruct.HSEState = RCC_HSE_ON;
  RCC_OscInitStruct.LSEState = RCC_LSE_ON;
  RCC_OscInitStruct.PLL.PLLState = RCC_PLL_ON;
  RCC_OscInitStruct.PLL.PLLSource = RCC_PLLSOURCE_HSE;
  RCC_OscInitStruct.PLL.PLLM = 4;
  RCC_OscInitStruct.PLL.PLLN = 168;
  RCC_OscInitStruct.PLL.PLLP = RCC_PLLP_DIV2;
  RCC_OscInitStruct.PLL.PLLQ = 7;
  if (HAL_RCC_OscConfig(&RCC_OscInitStruct) != HAL_OK)
  {
    Error_Handler();
  }

  /** Initializes the CPU, AHB and APB buses clocks
  */
  RCC_ClkInitStruct.ClockType = RCC_CLOCKTYPE_HCLK|RCC_CLOCKTYPE_SYSCLK
                              |RCC_CLOCKTYPE_PCLK1|RCC_CLOCKTYPE_PCLK2;
  RCC_ClkInitStruct.SYSCLKSource = RCC_SYSCLKSOURCE_PLLCLK;
  RCC_ClkInitStruct.AHBCLKDivider = RCC_SYSCLK_DIV1;
  RCC_ClkInitStruct.APB1CLKDivider = RCC_HCLK_DIV4;
  RCC_ClkInitStruct.APB2CLKDivider = RCC_HCLK_DIV2;

  if (HAL_RCC_ClockConfig(&RCC_ClkInitStruct, FLASH_LATENCY_5) != HAL_OK)
  {
    Error_Handler();
  }
}

/* USER CODE BEGIN 4 */

//////////////////////////////////////////////////////////////////////////////////////////////////////////////

void CAN_interface_Test(void)
{

 Tx_Header.IDE    = CAN_ID_STD;
 Tx_Header.ExtId  = 0;
 Tx_Header.DLC    = 8;
 Tx_Header.StdId  = 0x7EC;
 Tx_Header.RTR    = CAN_RTR_DATA;
 HAL_CAN_Start(&hcan1);  HAL_Delay(1500);

 if(HAL_CAN_AddTxMessage( &hcan1,
   		               &Tx_Header,
							Tx_Array, &TxMailbox )==HAL_OK
 	 )
	  {  /* Wait transmission complete */
	  //while(HAL_CAN_GetTxMailboxesFreeLevel(&hcan1) != 3) {}
		  for(uint8_t cnt=0;cnt<22;cnt++)
		  {
		   HAL_GPIO_TogglePin(LED2_GPIO_Port, LED2_Pin);//LED2_Pin//yellow
		   HAL_Delay(46);
		  }
	  }
}

//////////////////////////////////////////////

void UART_interface_Test(void)
{
	// Test_Terminal__ASCII
	  Length_of_Message = sprintf( Message_to_Terminal,
			  	  	  	  	  	  	  "Rx_Array[0]=0x%x, Rx_Array[1]= 0x%x, Rx_Array[2]= 0x%x, Rx_Array[3]= 0x%x \n\r",
									   Rx_Array[0],Rx_Array[1],Rx_Array[2],Rx_Array[3]
								 );
	  TerminalInterface.gState = HAL_UART_STATE_READY;
	  HAL_UART_Transmit_DMA( &TerminalInterface, (uint8_t*)Message_to_Terminal, Length_of_Message);

//    Test_Terminal__HEX
//
//	  HAL_Delay(500);
//	  Local_Count = sizeof String_L;
//	  String_L[Local_Count-1] = 0x0d;
//	  TerminalInterface.gState = HAL_DMA_STATE_READY;
//	  HAL_UART_Transmit_DMA( &TerminalInterface, (uint8_t*)(String_L), Local_Count);

}

//////////////////////////////////////////////////
void Board_Name_to_Terminal(void)
{
	const char Message_0[]={"   ******************************************\n\r"};
//	const char Message_1[]={"*  Upper Blackboard  STM32F4XX___Ali     *\n\r"};
//	const char Message_2[]={"*  Lower Blackboard  STM32F4XX___Ali     *\n\r"};
//	const char Message_3[]={"*  STM32F4DISCOVERY Green_board China    *\n\r"};
	const char Message_3[]={"*  STM32F4DISCO Greenboard_STLINK_4323   *\n\r"};
//	const char Message_3[]={"*  STM32F4DISCO Greenboard_STLINK_2734   *\n\r"};
//	const char Message_4[]={"*  STM32F4DISCOVERY Blue_board Original  *\n\r"};
//	const char Message_5[]={"*       *\n\r"};
	char Array_for_Messages[128]={};
	uint16_t Msg_Length;
//	uint32_t Chip_ID_96bit[4]={};
//	uint16_t  *pChip_ID_96bit =(uint16_t*)Chip_ID_96bit ;

//	Chip_ID_96bit[0] = HAL_GetUIDw0();
//	Chip_ID_96bit[1] = HAL_GetUIDw1();
//	Chip_ID_96bit[2] = HAL_GetUIDw2();

	Msg_Length = sizeof(Message_0);
	while(TerminalInterface.gState != HAL_UART_STATE_READY){;}
	HAL_UART_Transmit_DMA( &TerminalInterface, (uint8_t*)Message_0, Msg_Length);
////	HAL_UART_Transmit( &TerminalInterface, (uint8_t*)Message_0, Msg_Length,1);

	Msg_Length = sizeof(Message_3);
	while(TerminalInterface.gState != HAL_UART_STATE_READY){;}
	HAL_UART_Transmit_DMA( &TerminalInterface, (uint8_t*)Message_3, Msg_Length);
////	HAL_UART_Transmit( &TerminalInterface, (uint8_t*)Message_3, Msg_Length,1);

	while(TerminalInterface.gState != HAL_UART_STATE_READY){;}
	Msg_Length = sprintf( Array_for_Messages,
			  	  	  	  "*  SystemClock = %d MHz                 *\n\r",
						  (uint16_t)(HAL_RCC_GetSysClockFreq()/1000000)
						);
	HAL_UART_Transmit_DMA( &TerminalInterface, (uint8_t*)Array_for_Messages, Msg_Length);
////	HAL_UART_Transmit( &TerminalInterface, (uint8_t*)Array_for_Messages, Msg_Length,1);

	while(TerminalInterface.gState != HAL_UART_STATE_READY){;}
	Msg_Length = sprintf( Array_for_Messages,
			  	  	  	  "   *  Unical_ID %X%X%X%X%X%X        *\n\r",
						  (uint16_t)(HAL_GetUIDw2()>>16),(uint16_t)(HAL_GetUIDw2() & 0x0000FFFF),
						  (uint16_t)(HAL_GetUIDw1()>>16),(uint16_t)(HAL_GetUIDw1() & 0x0000FFFF),
						  (uint16_t)(HAL_GetUIDw0()>>16),(uint16_t)(HAL_GetUIDw0() & 0x0000FFFF)

						);
	HAL_UART_Transmit_DMA( &TerminalInterface, (uint8_t*)Array_for_Messages, Msg_Length);

	while(TerminalInterface.gState != HAL_UART_STATE_READY){;}
	Msg_Length = sprintf( Array_for_Messages,
			  	  	  	  "   *  Device identifier %X%X                *\n\r",
						  (uint16_t)(HAL_GetDEVID()>>16), (uint16_t)(HAL_GetDEVID() & 0x0000FFFF)
						);
	HAL_UART_Transmit_DMA( &TerminalInterface, (uint8_t*)Array_for_Messages, Msg_Length);

	while(TerminalInterface.gState != HAL_UART_STATE_READY){;}
	Msg_Length = sprintf( Array_for_Messages,
			  	  	  	  "   *  Device revision identifier %X%X      *\n\r",
						  (uint16_t)( HAL_GetREVID()>>16 ),
						  (uint16_t)( HAL_GetREVID() & 0x0000FFFF )
						);
	HAL_UART_Transmit_DMA( &TerminalInterface, (uint8_t*)Array_for_Messages, Msg_Length);

	Msg_Length = sizeof(Message_0);
	while(TerminalInterface.gState != HAL_UART_STATE_READY){;}
	HAL_UART_Transmit_DMA( &TerminalInterface, (uint8_t*)Message_0, Msg_Length);

	while(TerminalInterface.gState != HAL_UART_STATE_READY){;}
	Array_for_Messages[0]=0x0a;		Array_for_Messages[1]=0x0d;
	Array_for_Messages[2]=0x0a;		Array_for_Messages[3]=0x0d;
	Array_for_Messages[4]=0x0a;		Array_for_Messages[5]=0x0d;
	HAL_UART_Transmit_DMA( &TerminalInterface, (uint8_t*)(Array_for_Messages), 6);
	while(TerminalInterface.gState != HAL_UART_STATE_READY){;}
}

/////////////////////////////////////////////////////////////////////

  int16_t Encoder_to_LCD(void)
  {
		encoderStatus = Encoder_Get_Status();

		  switch(encoderStatus) {
		    case Incremented:
		    	currCounter++;
				//HAL_GPIO_WritePin(LED1_GPIO_Port, LED1_Pin, GPIO_PIN_RESET);
				HAL_GPIO_WritePin(LD3_GPIO_Port, LD3_Pin, GPIO_PIN_SET  );
				sprintf(String_LCD,"%04d",currCounter);
				LCD_SetPos(11, 0);
				HAL_Delay(10);
				LCD_String(String_LCD);HAL_Delay(10);

				L_str=	snprintf(buff, sizeof(buff), "\n\r %04d ", currCounter);
				while(TerminalInterface.gState != HAL_UART_STATE_READY ){;}
				HAL_UART_Transmit_IT(&TerminalInterface, (uint8_t*)buff, L_str);
				//HAL_GPIO_WritePin(LED1_GPIO_Port, LED1_Pin, GPIO_PIN_SET  );
				HAL_GPIO_WritePin(LD3_GPIO_Port, LD3_Pin, GPIO_PIN_RESET  );
		      break;
		    case Decremented:
		    	currCounter--;
				//HAL_GPIO_WritePin(LED2_GPIO_Port, LED2_Pin, GPIO_PIN_RESET);
				HAL_GPIO_WritePin(LD4_GPIO_Port, LD4_Pin, GPIO_PIN_SET  );
				sprintf(String_LCD,"%04d",currCounter);
				LCD_SetPos(11,0);HAL_Delay(10);

				LCD_String(String_LCD);HAL_Delay(10);

				L_str=	snprintf(buff, sizeof(buff), "\n\r %04d ", currCounter);
				while(TerminalInterface.gState != HAL_UART_STATE_READY ){;}
				HAL_UART_Transmit_IT(&TerminalInterface, (uint8_t*)buff, L_str);
				//HAL_GPIO_WritePin(LED2_GPIO_Port, LED2_Pin, GPIO_PIN_SET  );
				HAL_GPIO_WritePin(LD4_GPIO_Port, LD4_Pin, GPIO_PIN_RESET  );
		      break;

		    case Neutral:

		    	break;
		    default: break;
		  }///switch(encoderStatus)

		    	if(HAL_GetTick()-Ticks_1 >1500){
											//Ticks_1=HAL_GetTick();
											//Get_Time_to_LCD(0,1);
		    								}

		    	// RTC_update_and_Terminal(1999);
		    	return (currCounter);
  }

  ///////////////////////////////////////////////////////////////////////////////

  void CO_Init_Return_State(uint16_t Returned_Code)
  {
  	uint16_t Lngth_of_Message;
  	char Msg_2_Terminal[400];
  	uint16_t Code;
  	Code = Returned_Code;
  	Lngth_of_Message = sprintf( Msg_2_Terminal,"Returned_Code = 0x%x, \n\r\n\r",Returned_Code);
  	HAL_UART_Transmit_DMA( &TerminalInterface, (uint8_t*)Msg_2_Terminal, Lngth_of_Message);
 switch(Code)
 {
 case 0:
	  HAL_UART_Transmit_DMA( &TerminalInterface, (uint8_t*)"  canopen_app_init OK !\n\r\n\r",
													 sizeof"  canopen_app_init OK !\n\r\n\r");break;
 case 1:
  	  HAL_UART_Transmit_DMA( &TerminalInterface, (uint8_t*)"Error: Can't allocate memory!\n\r\n\r",
  			  	  	  	  	  	  	  	  	  	  	 sizeof"Error: Can't allocate memory!\n\r\n\r");break;
 case 2:
 	  HAL_UART_Transmit_DMA( &TerminalInterface, (uint8_t*)"Error: Storage %d ! \n\r\n\r",
 			  	  	  	  	  	  	  	  	  	  	 sizeof"Error: Storage %d ! \n\r\n\r");break;
default:
	  HAL_UART_Transmit_DMA( &TerminalInterface, (uint8_t*)"UNKNOWN code =0x%x \n\r",
			  	  	  	  	  	  	  	  	  	  	 sizeof"UNKNOWN code =0x%x \n\r");break;
 } //switch

while(TerminalInterface.gState != HAL_UART_STATE_READY){;}
HAL_Delay(50);
	Lngth_of_Message = sprintf( Msg_2_Terminal,
		  	  	  "  *  CANopenNodeSTM32 canOpenNodeSTM32;      *\n\r"
		  	  	  "  *  .CANHandle = &hcan1;                    *\n\r"
		  	  	  "  *  .HWInitFunction = MX_CAN1_Init          *\n\r"
		  	  	  "  *  .timerHandle = &htim4                   *\n\r"
		  	  	  "  *  .baudrate = 500kbps                     *\n\r"
	  	  	  	  "  *  .desiredNodeID = 0x%02X;                *\n\r\n\r"
	  	  	  	  "  *  .activeNodeID = 0x%02X;                *\n\r\n\r"
		  	  	  "  *  canopen_app_init(&canOpenNodeSTM32);* \n\r\n\r\n\r\n\r\n\r\n\r\n\r\n\r",
  	  	  	  	  	  	  	  canOpenNodeSTM32.desiredNodeID,
  	  	  	  	  	  	  	  canOpenNodeSTM32.activeNodeID
			   	   	   	   	   );
		HAL_UART_Transmit_DMA( &TerminalInterface, (uint8_t*)Msg_2_Terminal, Lngth_of_Message);
		while(TerminalInterface.gState != HAL_UART_STATE_READY){;}
		HAL_Delay(50);

}// void CO_Init_Return_State

  void TPDO_send(uint32_t Period_ms) {
		  if(HAL_GetTick() - Ticks>Period_ms)
		  {
			Ticks = HAL_GetTick();
			CO_TPDOsendRequest(&canOpenNodeSTM32.canOpenStack->TPDO[0] );
		  }
   }

  ///////////////////////////////////////////////////////////////////////////////
  void SDO_abortCode_ASCII_to_Terminal(void)
  {
  char Message_2_Terminal_0[128];
  uint16_t Message_Length;
  while(TerminalInterface.gState != HAL_UART_STATE_READY){;}
  Message_Length = SDO_abortCode_to_String(Code_return_SDO,  Message_2_Terminal_0);
  HAL_UART_Transmit_DMA( &TerminalInterface, (uint8_t*)Message_2_Terminal_0, Message_Length);
  while(TerminalInterface.gState != HAL_UART_STATE_READY){;}
  }

  ///////////////////////////////////////////////////////////////////////////////

  CO_SDO_abortCode_t SDO_Read_Write_Read(void)
  {

  	Code_return_SDO = read_SDO (
  			    canOpenNodeSTM32.canOpenStack->SDOclient,
  			  	0x3d,										//remote desiredNodeID Upper_F407XX
  				0x6004,										//Index_of_OD_variable_at_remote_NodeID_6004_u64
  				0x00,										//Sub_Index_of_OD_variable
  				Rx_Array,									//Save_Received_Data_to Local_Array
  				8,											//Number_of_Bytes_to_read
  				(size_t*)&Length_of_Ext_Var ); HAL_Delay(100);

  #if 1

  		while(TerminalInterface.gState != HAL_UART_STATE_READY){;}
  		Length_of_Message = sprintf( Message_to_Terminal,
  		  	  	                     "\r EXECUTED read_SDO(...); for the first time\n\r "
                    "by canOpenNodeSTM32.canOpenStack->SDOclient\n\r");

  		HAL_UART_Transmit_DMA( &TerminalInterface, (uint8_t*)Message_to_Terminal, Length_of_Message);HAL_Delay(10);

  		while(TerminalInterface.gState != HAL_UART_STATE_READY){;}
  		Length_of_Message = sprintf( Message_to_Terminal_3,
                  "from RemoteNode=0x3d OD_Index=0x6004_u64 SubIndex=0x0\n\r and Save to \n\r"
  				"Rx_Array={0x%X,0x%X,0x%X,0x%X,0x%X,0x%X,0x%X,0x%X} \n\r",
  				Rx_Array[0],Rx_Array[1],Rx_Array[2],Rx_Array[3],
  				Rx_Array[4],Rx_Array[5],Rx_Array[6],Rx_Array[7]);
  		HAL_UART_Transmit_DMA( &TerminalInterface, (uint8_t*)Message_to_Terminal_3, Length_of_Message);
  		while(TerminalInterface.gState != HAL_UART_STATE_READY){;}
  		SDO_abortCode_ASCII_to_Terminal();		HAL_Delay(10);
  #endif

  #if 2
  		while(TerminalInterface.gState != HAL_UART_STATE_READY){;}
  		Length_of_Message = sprintf( Message_to_Terminal_2, "   \n\r Run write_SDO(.....);\n\r"
  														  " write_SDO  by "
                    	  	  	  	  	  	  	  	  	  	  "canOpenNodeSTM32.canOpenStack->SDOclient\n\r");
  		Message_to_Terminal_2[0]=0x08;
  		Message_to_Terminal_2[1]=0x08;
  		Message_to_Terminal_2[2]=0x08;
  		HAL_UART_Transmit_DMA( &TerminalInterface, (uint8_t*)Message_to_Terminal_2, Length_of_Message);HAL_Delay(10);

  		while(TerminalInterface.gState != HAL_UART_STATE_READY){;}
  		Length_of_Message = sprintf( Message_to_Terminal_1,
                  "Get Data \n\r from Local\n\r Array_8u={0x%X,0x%X,0x%X,0x%X,0x%X,0x%X,0x%X,0x%X} \n\r",
  				Array_8u[0],Array_8u[1],Array_8u[2],Array_8u[3],
  				Array_8u[4],Array_8u[5],Array_8u[6],Array_8u[7]);
  		HAL_UART_Transmit_DMA( &TerminalInterface, (uint8_t*)Message_to_Terminal_1, Length_of_Message);
  		while(TerminalInterface.gState != HAL_UART_STATE_READY){;}
  		HAL_Delay(10);

  		while(TerminalInterface.gState != HAL_UART_STATE_READY){;}
  		Length_of_Message = sprintf( Message_to_Terminal_2,
                  "and \n\r write to\n\r"
                  "OD_Index=0x6004 SubIndex=0x0E  @ Remote Node_0x3d\n\r");
  		HAL_UART_Transmit_DMA( &TerminalInterface, (uint8_t*)Message_to_Terminal_2, Length_of_Message);
  		while(TerminalInterface.gState != HAL_UART_STATE_READY){;}
  		HAL_Delay(10);

  #endif//2

  Code_return_SDO = write_SDO(
  				canOpenNodeSTM32.canOpenStack->SDOclient,
  				0x3d,										//remote desiredNodeID Upper_F407XX
  				0x6004,										//Index_of_OD_variable_at_remote_NodeID_6004_u64
  				0x00,										//Sub_Index_of_OD_variable
  				Array_8u,									//Source_of_data
  				4);
  HAL_Delay(50);

  while(TerminalInterface.gState != HAL_UART_STATE_READY){;}
  SDO_abortCode_ASCII_to_Terminal();

  Code_return_SDO = read_SDO (
    			    canOpenNodeSTM32.canOpenStack->SDOclient,
  				0x3d,										//remote desiredNodeID Upper_F407XX
  				0x6004,										//Index_of_OD_variable_at_remote_NodeID_6004_u64
    				0x00,										//Sub_Index_of_OD_variable
    				Rx_Array,									//Saved_Received_Data
    				4,											//Number_of_Byte_to_read
    				(size_t*)&Length_of_Ext_Var );HAL_Delay(50);

  #if 3

  		while(TerminalInterface.gState != HAL_UART_STATE_READY){;}
  		Length_of_Message = sprintf( Message_to_Terminal_2,
  		  	  	                     "   \n\r EXECUTED read_SDO(...); for the SECOND time\n\r");
  		Message_to_Terminal_2[0]=0x08;
  		Message_to_Terminal_2[1]=0x08;
  		Message_to_Terminal_2[2]=0x08;
  		HAL_UART_Transmit_DMA( &TerminalInterface, (uint8_t*)Message_to_Terminal_2, Length_of_Message);

  		while(TerminalInterface.gState != HAL_UART_STATE_READY){;}
  		Length_of_Message = sprintf( Message_to_Terminal_1,
                  " Read NEW DATA from Node_0x3d OD_Index=0x6004 SubIndex=0x0E\n\r"
                  "and\n\r Save to\n\r");
  		HAL_UART_Transmit_DMA( &TerminalInterface, (uint8_t*)Message_to_Terminal_1, Length_of_Message);

  		while(TerminalInterface.gState != HAL_UART_STATE_READY){;}
  		Length_of_Message = sprintf( Message_to_Terminal,
                  "Rx_Array={0x%X,0x%X,0x%X,0x%X,0x%X,0x%X,0x%X,0x%X} \n\r",
  				Array_8u[0],Array_8u[1],Array_8u[2],Array_8u[3],
  				Array_8u[4],Array_8u[5],Array_8u[6],Array_8u[7]);
  		HAL_UART_Transmit_DMA( &TerminalInterface, (uint8_t*)Message_to_Terminal, Length_of_Message); HAL_Delay(10);

  SDO_abortCode_ASCII_to_Terminal();
   HAL_Delay(50);
  #endif//3
   return (Code_return_SDO);
  }
  /////////////////////////////////////////////////////////////////////
  void SDO_Test()
  {
	  Code_return_SDO = read_SDO (
	  			    canOpenNodeSTM32.canOpenStack->SDOclient,
	  				CO_Disco407_Blue,							//remote_NodeID_0x3b
	  				0x600E,										//Index_of_OD_variable_Disco_Blue_VAR64_600e_TX_at_remote_Node
	  				0,											//Sub_Index_of_OD_variable
	  				Rx_Array,									//Saved_Received_Data
	  				4,											//Number_of_Byte_to_read_from_Remote_OD
	  				(size_t*)&Length_of_Ext_Var );

	  #if 1
	  	while(TerminalInterface.gState != HAL_UART_STATE_READY){;}
	  	Length_of_Message = SDO_abortCode_to_String(Code_return_SDO,  Message_to_Terminal);
	  	HAL_UART_Transmit_DMA( &TerminalInterface, (uint8_t*)Message_to_Terminal, Length_of_Message);HAL_Delay(10);

	  		while(TerminalInterface.gState != HAL_UART_STATE_READY){;}
	  		Length_of_Message = sprintf( Message_to_Terminal,
	  		  	  	                     " execute read_SDO(...); for the first time\n\r "
	                    "by canOpenNodeSTM32.canOpenStack->SDOclient\n\r");

	  		HAL_UART_Transmit_DMA( &TerminalInterface, (uint8_t*)Message_to_Terminal, Length_of_Message);HAL_Delay(10);

	  		while(TerminalInterface.gState != HAL_UART_STATE_READY){;}
	  		Length_of_Message = sprintf( Message_to_Terminal,
	                  "from RemoteNode=0x3b OD_Index=0x600E SubIndex=0x00\n\r"
	                  "and Save to \n\r"
	                  "Rx_Array={0x%X,0x%X,0x%X,0x%X} \n\r",
	  				Rx_Array[0],Rx_Array[1],Rx_Array[2],Rx_Array[3]);
	  		HAL_UART_Transmit_DMA( &TerminalInterface, (uint8_t*)Message_to_Terminal, Length_of_Message); HAL_Delay(10);
	  #endif
	  HAL_Delay(10);

	  #if 2
	  		Length_of_Message = sprintf( Message_to_Terminal, "\n\r write_SDO(.....);\n\r"
	  														  " write_SDO  by "
	                    	  	  	  	  	  	  	  	  	  	  "canOpenNodeSTM32.canOpenStack->SDOclient\n\r");
	  		while(TerminalInterface.gState != HAL_UART_STATE_READY){;}
	  		HAL_UART_Transmit_DMA( &TerminalInterface, (uint8_t*)Message_to_Terminal, Length_of_Message);HAL_Delay(10);

	  		while(TerminalInterface.gState != HAL_UART_STATE_READY){;}
	  		Length_of_Message = sprintf( Message_to_Terminal,
	                  "Get Data from Local\n\r"
	                  "Array_8u={0x%X,0x%X,0x%X,0x%X} \n\r",
	  				Array_8u[0],Array_8u[1],Array_8u[2],Array_8u[3]);
	  		HAL_UART_Transmit_DMA( &TerminalInterface, (uint8_t*)Message_to_Terminal, Length_of_Message); HAL_Delay(10);

	  		while(TerminalInterface.gState != HAL_UART_STATE_READY){;}
	  		Length_of_Message = sprintf( Message_to_Terminal,
	                  "and write to\n\r"
	                  "OD_Index=0x600e SubIndex=0x0  @ Remote Node_0x3b\n\r");
	  		HAL_UART_Transmit_DMA( &TerminalInterface, (uint8_t*)Message_to_Terminal, Length_of_Message);HAL_Delay(10);
	  #endif//2
	  Code_return_SDO = write_SDO(
	  					canOpenNodeSTM32.canOpenStack->SDOclient,
	  					CO_Disco407_Blue,							//remote_NodeID_0x3b
	  					0x600E,										//Index_of_OD_variable_Disco_Blue_VAR64_600e_TX_at_remote_Node
	  						0,										//Sub_Index_of_OD_variable
	  					Array_8u,									//Data_Source
	  					4);	  HAL_Delay(100);
	  while(TerminalInterface.gState != HAL_UART_STATE_READY){;}
	  Length_of_Message = SDO_abortCode_to_String(Code_return_SDO,  Message_to_Terminal);
	  HAL_UART_Transmit_DMA( &TerminalInterface, (uint8_t*)Message_to_Terminal, Length_of_Message);HAL_Delay(10);

	  Code_return_SDO = read_SDO (
	  					canOpenNodeSTM32.canOpenStack->SDOclient,
	  					CO_Disco407_Blue,							//remote_NodeID_0x3b
	  					0x600E,										//Index_of_OD_variable_Disco_Blue_VAR64_600e_TX_at_remote_Node
	  					0,											//Sub_Index_of_OD_variable
	  					Rx_Array,									//Saved_Received_Data
	  					4,											//Number_of_Byte_to_read
	  					(size_t*)&Length_of_Ext_Var );  HAL_Delay(10);

	  #if 3
	  		while(TerminalInterface.gState != HAL_UART_STATE_READY){;}
	  		Length_of_Message = SDO_abortCode_to_String(Code_return_SDO,  Message_to_Terminal);
	  		HAL_UART_Transmit_DMA( &TerminalInterface, (uint8_t*)Message_to_Terminal, Length_of_Message);HAL_Delay(10);

	  		while(TerminalInterface.gState != HAL_UART_STATE_READY){;}
	  		Length_of_Message = sprintf( Message_to_Terminal,
	  		  	  	                     "\n\r EXECUTE read_SDO(...); for the SECOND time\n\r");
	  		HAL_UART_Transmit_DMA( &TerminalInterface, (uint8_t*)Message_to_Terminal, Length_of_Message);

	  		while(TerminalInterface.gState != HAL_UART_STATE_READY){;}
	  		Length_of_Message = sprintf( Message_to_Terminal,
	                  " Read NEW DATA from Node_0x3b OD_Index=0x600e SubIndex=0x00\n\r"
	                  "and Save to\n\r");
	  		HAL_UART_Transmit_DMA( &TerminalInterface, (uint8_t*)Message_to_Terminal, Length_of_Message);

	  		while(TerminalInterface.gState != HAL_UART_STATE_READY){;}
	  		Length_of_Message = sprintf( Message_to_Terminal,
	                  					"Rx_Array={0x%X,0x%X,0x%X,0x%X} \n\r\n\r",
	  									Array_8u[0],Array_8u[1],Array_8u[2],Array_8u[3]);
	  		HAL_UART_Transmit_DMA( &TerminalInterface, (uint8_t*)Message_to_Terminal, Length_of_Message); HAL_Delay(10);

	  #endif//3

  }

  /////////////////////////////////////////////////////////////////////

/* USER CODE END 4 */

void Error_Handler(void)
{
  __disable_irq();
  while (1)
  {
  }
}
